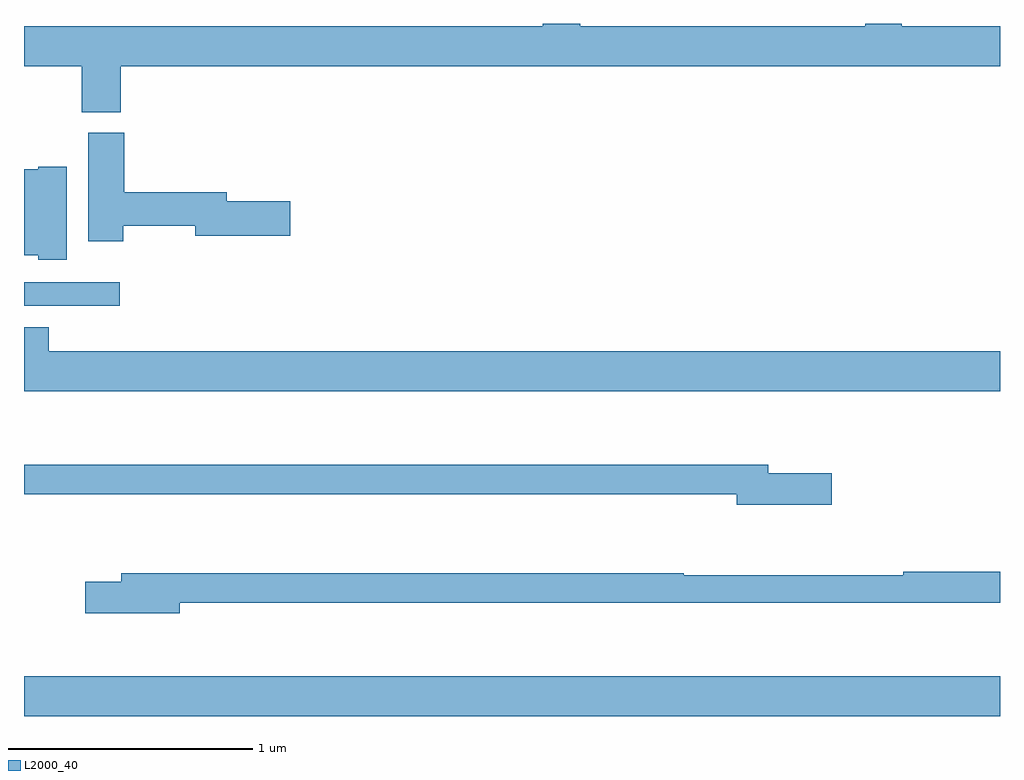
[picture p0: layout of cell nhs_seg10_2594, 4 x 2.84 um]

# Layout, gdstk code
import gdstk
lib = gdstk.Library(unit=1e-6, precision=1e-09)
def R(c, l, rs):  # rectangles x0, y0, x1, y1
    for r in rs: c.add(gdstk.rectangle(r[:2], r[2:], *l))
def P(c, l, *ps):  # polygons
    for p in ps: c.add(gdstk.Polygon(p, *l))
L2000_40 = (2000, 40)

nhs_seg10_2594 = lib.new_cell('nhs_seg10_2594')
R(nhs_seg10_2594, L2000_40, [(251,1289.66,255,1289.824), (251,1291.344,251.392,1291.44)])
P(nhs_seg10_2594, L2000_40, [(251.396,1292.324),(255,1292.324),(255,1292.488),(254.598,1292.488),(254.598,1292.5),(254.447,1292.5),(254.447,1292.488),(253.279,1292.488),(253.279,1292.5),(253.127,1292.5),(253.127,1292.488),(251,1292.488),(251,1292.324),(251.236,1292.324),(251.236,1292.137),(251.396,1292.137)],
  [(251.406,1291.672),(251.702,1291.672),(251.702,1291.63),(252.091,1291.63),(252.091,1291.772),(251.83,1291.772),(251.83,1291.808),(251.411,1291.808),(251.411,1292.052),(251.264,1292.052),(251.264,1291.608),(251.406,1291.608)],
  [(251.176,1291.912),(251.058,1291.912),(251.058,1291.903),(251,1291.903),(251,1291.55),(251.058,1291.55),(251.058,1291.532),(251.176,1291.532)],
  [(255,1291.156),(251.102,1291.156),(251.102,1291.255),(251,1291.255),(251,1290.992),(255,1290.992)],
  [(254.311,1290.657),(254.05,1290.657),(254.05,1290.691),(251,1290.691),(251,1290.57),(253.922,1290.57),(253.922,1290.527),(254.311,1290.527)],
  [(251.638,1290.126),(255,1290.126),(255,1290.254),(254.603,1290.254),(254.603,1290.239),(253.703,1290.239),(253.703,1290.247),(251.399,1290.247),(251.399,1290.213),(251.25,1290.213),(251.25,1290.083),(251.638,1290.083)])

lib.write_gds('nhs_seg10_2594.gds')
